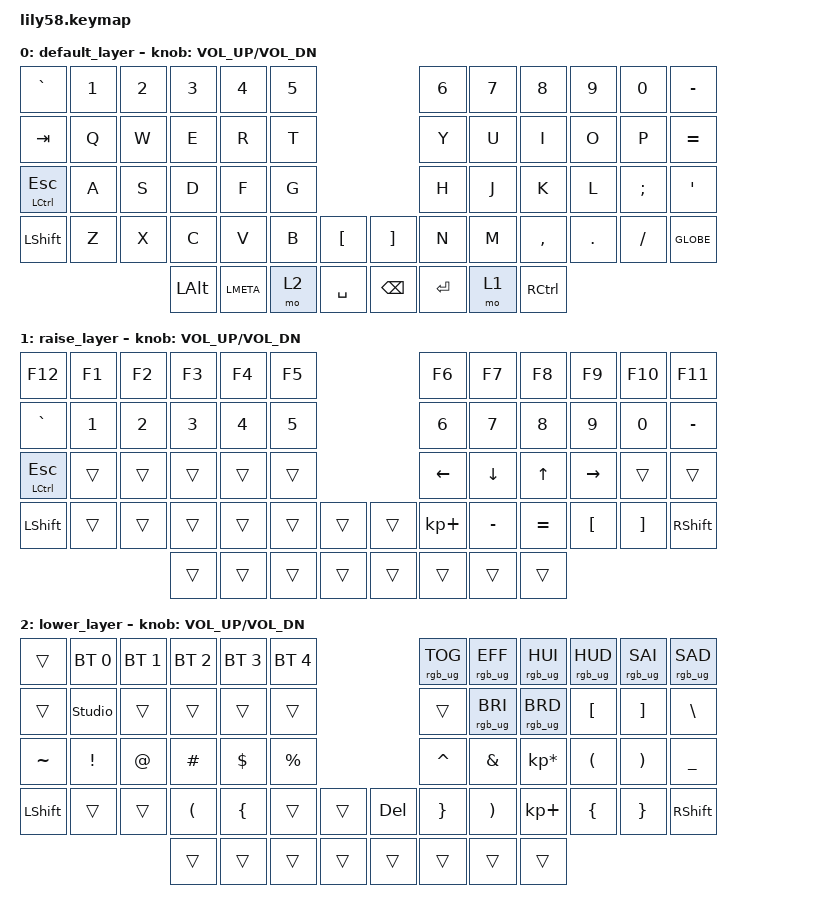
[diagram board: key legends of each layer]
/*
 * Copyright (c) 2020 The ZMK Contributors
 *
 * SPDX-License-Identifier: MIT
 */

#include <behaviors.dtsi>
#include <dt-bindings/zmk/keys.h>
#include <dt-bindings/zmk/bt.h>
#include <dt-bindings/zmk/ext_power.h>
#include <dt-bindings/zmk/rgb.h>
#include <dt-bindings/led/led.h>

&pinctrl {
    spi3_default: spi3_default {
        group1 {
            psels = <NRF_PSEL(SPIM_MOSI, 0, 6)>;
        };
    };
    spi3_sleep: spi3_sleep {
        group1 {
            psels = <NRF_PSEL(SPIM_MOSI, 0, 6)>;
            low-power-enable;
        };
    };
};

&spi3 {
    compatible = "nordic,nrf-spim";
    status = "okay";

    pinctrl-0 = <&spi3_default>;
    pinctrl-1 = <&spi3_sleep>;
    pinctrl-names = "default", "sleep";

    led_strip: ws2812@0 {
        compatible = "worldsemi,ws2812-spi";

        /* SPI */
        reg = <0>;
        spi-max-frequency = <4000000>;

        /* WS2812 */
        chain-length = <29>; /* Testing with 1 LED */
        spi-one-frame = <0x70>;
        spi-zero-frame = <0x40>;
        color-mapping = <LED_COLOR_ID_GREEN
                         LED_COLOR_ID_RED
                         LED_COLOR_ID_BLUE>;
    };
};

/ {
    chosen {
        zmk,underglow = &led_strip;
    };
};

/ {
    // Macros for common key combinations
    macros {
        lang_switch: lang_switch {
            compatible = "zmk,behavior-macro";
            #binding-cells = <0>;
            bindings = <&macro_press &kp LCTRL>
                     , <&macro_tap &kp SPACE>
                     , <&macro_release &kp LCTRL>;
        };

        vscode_term: vscode_term {
            compatible = "zmk,behavior-macro";
            #binding-cells = <0>;
            bindings = <&macro_press &kp LCTRL>
                     , <&macro_tap &kp GRAVE>
                     , <&macro_release &kp LCTRL>;
        };
    };

    // Combo keys are a way to combine multiple keypresses to output a different key.
    combos {
        compatible = "zmk,combos";

        combo_clear_bluetooth {
            timeout-ms = <50>; // Press all the below keys within 50ms to activate mapping
            key-positions = <52 42 0>; // Press 52=LOWER, 42=[, 0=tilde
            bindings = <&bt BT_CLR>; // activate clear bluetooth bindings for current channel
        };
    };

    keymap {
        compatible = "zmk,keymap";

        default_layer {
            // ------------------------------------------------------------------------------------------------------------
            // |   `      |  1  |  2  |  3   |  4   |  5   |                   |  6   |  7    |  8    |  9   |   0   |   -   |
            // |  TAB     |  Q  |  W  |  E   |  R   |  T   |                   |  Y   |  U    |  I    |  O   |   P   |   =   |
            // |hCTRL tESC|  A  |  S  |  D   |  F   |  G   |                   |  H   |  J    |  K    |  L   |   ;   |   '   |
            // | SHIFT    |  Z  |  X  |  C   |  V   |  B   |   "["  |  |  "]"  |  N   |  M    |  ,    |  .   |   /   | GLOBE |
            //                        | ALT  | GUI  | LOWER|  SPACE |  | BSPC  | ENTER| RAISE | CTRL  |

            bindings = <
      &kp GRAVE  &kp N1  &kp N2    &kp N3     &kp N4    &kp N5                        &kp N6  &kp N7     &kp N8    &kp N9    &kp N0    &kp MINUS
      &kp TAB    &kp Q   &kp W     &kp E      &kp R     &kp T                         &kp Y   &kp U      &kp I     &kp O     &kp P     &kp EQUAL
&mt LCTRL ESC    &kp A   &kp S     &kp D      &kp F     &kp G                         &kp H   &kp J      &kp K     &kp L     &kp SEMI  &kp SQT
    &kp LSHFT    &kp Z   &kp X     &kp C      &kp V     &kp B  &kp LBKT     &kp RBKT  &kp N   &kp M      &kp COMMA &kp DOT   &kp FSLH  &kp GLOBE
                                   &kp LALT   &kp LMETA &mo 2  &kp SPACE    &kp BSPC  &kp RET &mo 1      &kp RCTRL
            >;

            sensor-bindings = <&inc_dec_kp C_VOL_UP C_VOL_DN>;
        };

        raise_layer {
            // ------------------------------------------------------------------------------------------------------------
            // |  F12    |  F1 |  F2 |  F3  |  F4  |  F5  |                   |  F6  |   F7  |   F8  |  F9  |  F10  |  F11  |
            // |   `     |  1  |  2  |  3   |  4   |  5   |                   |  6   |   7   |   8   |  9   |   0   |   -   |
            // |CTRL/ESC |     |     |      |      |      |                   |  <-  |   ^   |   v   |  ->  |       |       |
            // | SHIFT   |     |     |      |      |      |        |  |       |  +   |   -   |   =   |  [   |   ]   |   \   |
            //                       |      |      |      |        |  |       |      |       |       |

            bindings = <
      &kp F12  &kp F1  &kp F2  &kp F3  &kp F4  &kp F5                   &kp F6       &kp F7     &kp F8     &kp F9    &kp F10   &kp F11
    &kp GRAVE  &kp N1  &kp N2  &kp N3  &kp N4  &kp N5                   &kp N6       &kp N7     &kp N8     &kp N9    &kp N0    &kp MINUS
&mt LCTRL ESC  &trans  &trans  &trans  &trans  &trans                   &kp LEFT     &kp DOWN   &kp UP     &kp RIGHT &trans    &trans
   &kp LSHIFT  &trans  &trans  &trans  &trans  &trans  &trans  &trans   &kp KP_PLUS  &kp MINUS  &kp EQUAL  &kp LBKT  &kp RBKT  &kp RIGHT_SHIFT
                               &trans  &trans  &trans  &trans  &trans   &trans       &trans     &trans
            >;

            sensor-bindings = <&inc_dec_kp C_VOL_UP C_VOL_DN>;
        };

        lower_layer {
            // ------------------------------------------------------------------------------------------------------------
            // |          | BT1     | BT2    |  BT3 |  BT4  |  BT5 |                    |RGB_TOG|RGB_EFF|RGB_HUI|RGB_HUD|RGB_SAI|RGB_SAD|
            // |          |STUDIO_UL|        |      |       |      |                    |       |RGB_BRI|RGB_BRD|  [   |   ]   |   \   |
            // |   ~      |  !      |  @     |  #   |  $    |  %   |                    |  ^   |  &    |  *    |  (   |   )   |   _   |
            // | SHIFT    |  EP_ON  | EP_OFF |      |  (    |  {   |       |  |   DEL   |  }   |  )    |  +    |  {   |   }   | SHIFT |
            //                               |      |       |      |       |  |         |      |       |       |
            bindings = <
    &trans       &bt BT_SEL 0  &bt BT_SEL 1  &bt BT_SEL 2  &bt BT_SEL 3  &bt BT_SEL 4                                          &rgb_ug RGB_TOG  &rgb_ug RGB_EFF  &rgb_ug RGB_HUI  &rgb_ug RGB_HUD  &rgb_ug RGB_SAI  &rgb_ug RGB_SAD
    &trans       &studio_unlock &trans       &trans        &trans        &trans                                                  &trans           &rgb_ug RGB_BRI  &rgb_ug RGB_BRD  &kp LBKT         &kp RBKT         &kp BSLH
    &kp TILDE    &kp EXCL      &kp AT        &kp HASH      &kp DOLLAR    &kp PRCNT                                               &kp CARET        &kp AMPS         &kp KP_MULTIPLY  &kp LPAR         &kp RPAR         &kp UNDER
    &kp LSHIFT   &trans        &trans        &kp LPAR      &kp LBRC      &trans    &trans    &kp DEL                             &kp RBRC         &kp RPAR         &kp KP_PLUS      &kp LBRC         &kp RBRC         &kp RSHFT
                                             &trans        &trans        &trans    &trans    &trans                              &trans           &trans           &trans    
            >;

            sensor-bindings = <&inc_dec_kp C_VOL_UP C_VOL_DN>;
        };

        extra1 {
            status = "reserved";
        };

        extra2 {
            status = "reserved";
        };
    };
};
